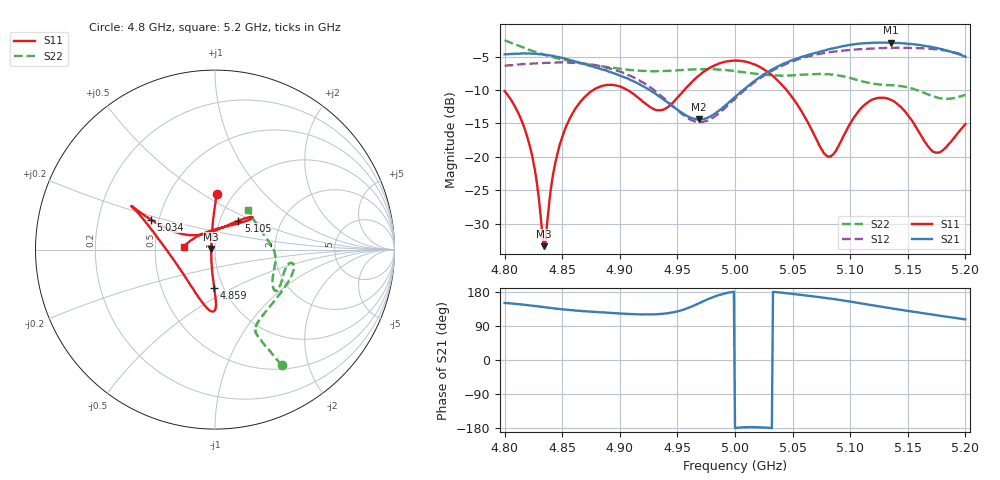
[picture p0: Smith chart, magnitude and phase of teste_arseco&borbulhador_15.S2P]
! Network Analyzer HP8722D
! Hewlett-Packard
! Data name: Linha & Wilkinson
! Saver's name: Rodrigo Anjos
! Comments: Teste da utilização de aquisição
! continua pelo VNA HP8722D
! Time and date: 15/4/2025 15:45
!  Frequency  S11  S21  S12  S22
# HZ  S  MA R 50
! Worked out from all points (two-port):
!   401 points, 4.8 GHz to 5.2 GHz, reference 50 ohm
!   highest |S21| = -2.91 dB at 5.135 GHz (marker M1); lowest = -14.4 dB at 4.969 GHz (marker M2)
!   |S21| within 3 dB of the highest: start of sweep to 4.865 GHz; 5.044 GHz to end of sweep
!   lowest |S11| = -33.4 dB at 4.834 GHz (marker M3), VSWR 1.04, Z = 47.9 + j0.353 ohm
!   |S11| at or under -10 dB: start of sweep to 4.877 GHz; 4.907 GHz to 4.956 GHz (49.48 MHz wide, 1 % of centre); 5.045 GHz to end of sweep
!   |S22| runs from -11.3 to -2.6 dB; largest |S21 - S12| = 1.3
!   S11 on the Smith chart (normalised r, x): 4.8 GHz: 0.84, +0.58; 4.859 GHz: 0.91, -0.40; 5.034 GHz: 0.45, +0.18; 5.105 GHz: 1.22, +0.41; 5.2 GHz: 0.70, +0.02
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4.8e9  0.3102 88.3  0.5836 150.5  0.4808 -111.4  0.7413 -59.9
4.821e9  0.1288 96.1  0.5941 144.5  0.4953 -110.5  0.6325 -61.6
4.827e9  0.0731 104.8  0.5883 142.4  0.499 -110.0  0.6077 -62.4
4.834e9  0.02149 170.1  0.5815 139.5  0.5032 -109.4  0.5809 -62.9
4.836e9  0.02565 -144.4  0.5769 138.7  0.505 -109.1  0.5739 -63.0
4.841e9  0.06396 -108.4  0.5708 136.9  0.5049 -109.1  0.5584 -63.3
4.845e9  0.09853 -100.5  0.5608 135.5  0.5063 -108.8  0.5468 -63.5
4.859e9  0.2121 -91.3  0.5229 131.2  0.5068 -108.5  0.5157 -63.8
4.867e9  0.2653 -89.3  0.4989 129.0  0.4984 -108.6  0.5013 -63.3
4.895e9  0.3438 -93.5  0.4212 123.7  0.4477 -111.5  0.4617 -57.2
4.934e9  0.2228 -145.7  0.2836 121.1  0.2956 -116.3  0.4368 -35.6
4.969e9  0.4073 159.1  0.1905 150.1  0.1819 -85.7  0.4522 -16.9
5e9  0.5245 152.4  0.2801 -179.5  0.2725 -49.8  0.437 -9.9
5.034e9  0.3947 154.9  0.4583 179.6  0.4487 -43.3  0.4065 -15.3
5.067e9  0.1567 149.2  0.5898 168.3  0.5724 -46.4  0.4147 -29.2
5.083e9  0.1003 102.2  0.6406 162.0  0.6072 -49.4  0.4126 -33.7
5.105e9  0.2069 51.1  0.6962 151.6  0.634 -54.2  0.3773 -31.6
5.119e9  0.2677 42.8  0.7122 144.6  0.6434 -58.3  0.3542 -23.7
5.134e9  0.2697 40.2  0.7126 137.1  0.6516 -63.2  0.3439 -12.6
5.135e9  0.2677 40.3  0.7152 136.8  0.6532 -63.4  0.3435 -12.0
5.174e9  0.1077 104.0  0.6559 118.7  0.6369 -77.2  0.2795 19.9
5.2e9  0.1757 174.4  0.559 107.3  0.5724 -86.2  0.2898 50.0
